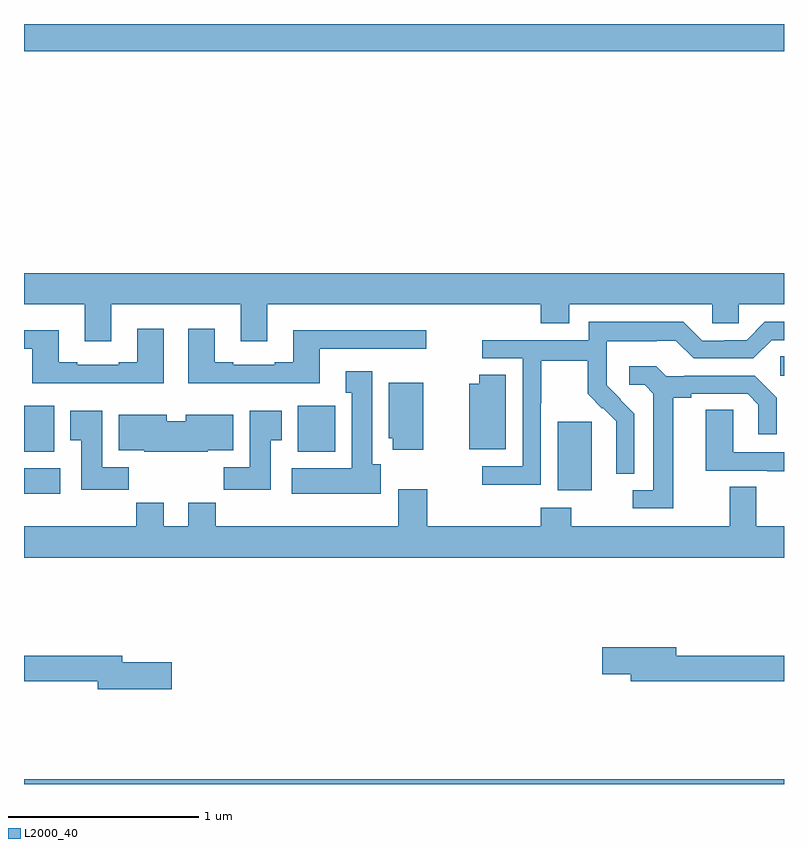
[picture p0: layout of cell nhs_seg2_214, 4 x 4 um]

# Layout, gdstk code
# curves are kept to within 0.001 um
import gdstk
lib = gdstk.Library(unit=1e-6, precision=1e-09)
def R(c, l, rs):  # rectangles x0, y0, x1, y1
    for r in rs: c.add(gdstk.rectangle(r[:2], r[2:], *l))
def P(c, l, *ps):  # polygons
    for p in ps: c.add(gdstk.Polygon(p, *l))
L2000_40 = (2000, 40)

nhs_seg2_214 = lib.new_cell('nhs_seg2_214')
R(nhs_seg2_214, L2000_40, [(121,623.8,125,623.824), (121,625.328,121.192,625.462), (123.809,625.346,123.988,625.707), (121,625.55,121.159,625.792), (122.441,625.55,122.638,625.792), (124.98,625.95,125,626.051), (121,627.656,125,627.8)])
P(nhs_seg2_214, L2000_40, [(121.459,626.324),(122.141,626.324),(122.141,626.13),(122.281,626.13),(122.281,626.324),(123.719,626.324),(123.719,626.225),(123.871,626.225),(123.871,626.324),(124.623,626.324),(124.623,626.226),(124.761,626.226),(124.761,626.324),(125,626.324),(125,626.488),(121,626.488),(121,626.324),(121.319,626.324),(121.319,626.13),(121.459,626.13)],
  [(123.72,625.804),(123.723,625.804),(123.723,626.028),(123.967,626.028),(123.967,625.853),(124.044,625.776),(124.047,625.779),(124.118,625.709),(124.118,625.586),(124.116,625.586),(124.116,625.432),(124.212,625.432),(124.212,625.75),(124.066,625.898),(124.066,625.995),(124.068,625.995),(124.068,626.129),(124.331,626.129),(124.331,626.133),(124.431,626.133),(124.524,626.04),(124.839,626.04),(124.935,626.136),(125,626.136),(125,626.232),(124.899,626.232),(124.803,626.136),(124.685,626.136),(124.685,626.133),(124.569,626.133),(124.469,626.233),(123.972,626.233),(123.972,626.136),(123.411,626.136),(123.411,626.04),(123.624,626.04),(123.624,625.473),(123.411,625.473),(123.411,625.375),(123.72,625.375)],
  [(122.557,626.091),(123.118,626.091),(123.118,626.188),(122.417,626.188),(122.417,626.02),(122.321,626.02),(122.321,626.007),(122.101,626.007),(122.101,626.02),(122.005,626.02),(122.005,626.197),(121.865,626.197),(121.865,625.91),(122.557,625.91)],
  [(121.735,626.197),(121.595,626.197),(121.595,626.02),(121.499,626.02),(121.499,626.007),(121.279,626.007),(121.279,626.02),(121.183,626.02),(121.183,626.188),(121,626.188),(121,626.091),(121.043,626.091),(121.043,625.91),(121.735,625.91)],
  [(124.417,625.832),(124.513,625.832),(124.513,625.854),(124.808,625.854),(124.865,625.797),(124.865,625.641),(124.962,625.641),(124.962,625.834),(124.846,625.95),(124.474,625.95),(124.474,625.947),(124.38,625.947),(124.328,625.999),(124.185,625.999),(124.185,625.902),(124.266,625.902),(124.313,625.855),(124.313,625.347),(124.203,625.347),(124.203,625.251),(124.417,625.251)],
  [(122.878,625.482),(122.833,625.482),(122.833,625.972),(122.693,625.972),(122.693,625.859),(122.726,625.859),(122.726,625.462),(122.409,625.462),(122.409,625.328),(122.878,625.328)],
  [(123.535,625.955),(123.397,625.955),(123.397,625.906),(123.344,625.906),(123.344,625.562),(123.535,625.562)],
  [(123.1,625.912),(122.921,625.912),(122.921,625.62),(122.942,625.62),(122.942,625.56),(123.1,625.56)],
  [(125,625.545),(124.734,625.545),(124.734,625.769),(124.589,625.769),(124.589,625.449),(124.913,625.449),(124.913,625.445),(125,625.445)],
  [(122.299,625.609),(122.356,625.609),(122.356,625.765),(122.189,625.765),(122.189,625.468),(122.05,625.468),(122.05,625.35),(122.299,625.35)],
  [(121.55,625.468),(121.411,625.468),(121.411,625.765),(121.244,625.765),(121.244,625.609),(121.301,625.609),(121.301,625.35),(121.55,625.35)],
  [(121.968,625.556),(122.101,625.556),(122.101,625.744),(121.85,625.744),(121.85,625.708),(121.75,625.708),(121.75,625.744),(121.499,625.744),(121.499,625.556),(121.632,625.556),(121.632,625.55),(121.968,625.55)],
  [(125,625.156),(124.855,625.156),(124.855,625.364),(124.715,625.364),(124.715,625.156),(123.879,625.156),(123.879,625.255),(123.719,625.255),(123.719,625.156),(123.122,625.156),(123.122,625.351),(122.969,625.351),(122.969,625.156),(122.009,625.156),(122.009,625.28),(121.865,625.28),(121.865,625.156),(121.735,625.156),(121.735,625.28),(121.591,625.28),(121.591,625.156),(121,625.156),(121,624.992),(125,624.992)],
  [(125,624.476),(124.432,624.476),(124.432,624.519),(124.044,624.519),(124.044,624.377),(124.193,624.377),(124.193,624.34),(125,624.34)],
  [(121.777,624.44),(121.516,624.44),(121.516,624.476),(121,624.476),(121,624.34),(121.388,624.34),(121.388,624.298),(121.777,624.298)])

lib.write_gds('nhs_seg2_214.gds')
